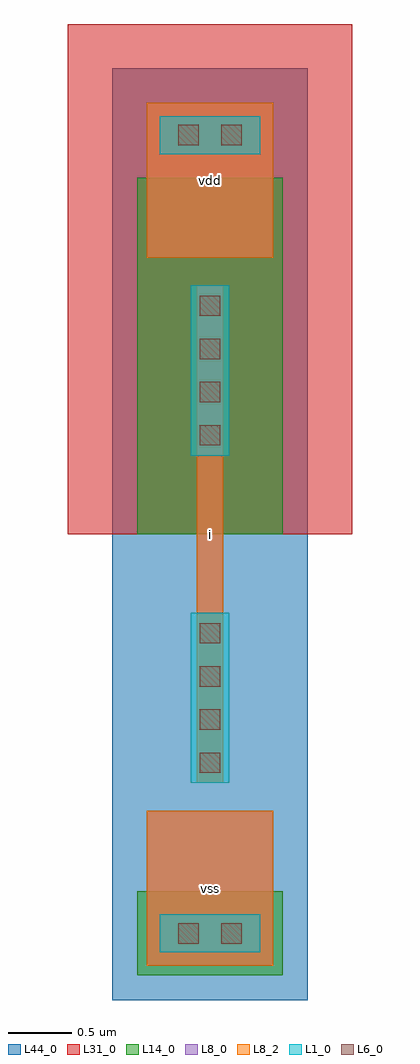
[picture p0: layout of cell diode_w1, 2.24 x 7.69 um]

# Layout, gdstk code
import gdstk
lib = gdstk.Library(unit=1e-6, precision=1e-09)
def R(c, l, rs):  # rectangles x0, y0, x1, y1
    for r in rs: c.add(gdstk.rectangle(r[:2], r[2:], *l))
def A(c, l, x, y, w, h, nx, ny, dx, dy):  # array of equal rectangles
    R(c, l, [(x+i*dx, y+j*dy, x+i*dx+w, y+j*dy+h) for i in range(nx) for j in range(ny)])
L1_0 = (1, 0)
L6_0 = (6, 0)
L8_0 = (8, 0)
L8_2 = (8, 2)
L14_0 = (14, 0)
L31_0 = (31, 0)
L44_0 = (44, 0)

diode_w1 = lib.new_cell('diode_w1')
R(diode_w1, L1_0, [(0.105,0.105,0.895,0.405), (0.35,1.44,0.65,2.78), (0.35,4.02,0.65,5.36), (0.105,6.395,0.895,6.695)])
A(diode_w1, L6_0, 0.42, 1.52, 0.16, 0.16, 1, 4, 0, 0.34)
A(diode_w1, L6_0, 0.42, 4.1, 0.16, 0.16, 1, 4, 0, 0.34)
R(diode_w1, L6_0, [(0.25,0.175,0.41,0.335), (0.59,0.175,0.75,0.335), (0.25,6.465,0.41,6.625), (0.59,6.465,0.75,6.625)])
R(diode_w1, L8_0, [(0,0,1,1.22), (0.395,1.44,0.605,5.36), (0,5.58,1,6.8)])
R(diode_w1, L8_2, [(0,0,1,1.22), (0.395,1.44,0.605,5.36), (0,5.58,1,6.8)])
R(diode_w1, L14_0, [(-0.075,-0.075,1.075,0.585), (-0.075,3.4,1.075,6.21)])
R(diode_w1, L31_0, [(-0.62,3.4,1.62,7.42)])
R(diode_w1, L44_0, [(-0.27,-0.27,1.27,7.07)])
diode_w1.add(gdstk.Label('vdd', (0.5,6.19), layer=8, texttype=2))
diode_w1.add(gdstk.Label('vss', (0.5,0.61), layer=8, texttype=2))
diode_w1.add(gdstk.Label('i', (0.5,3.4), layer=8, texttype=2))

lib.write_gds('diode_w1.gds')
